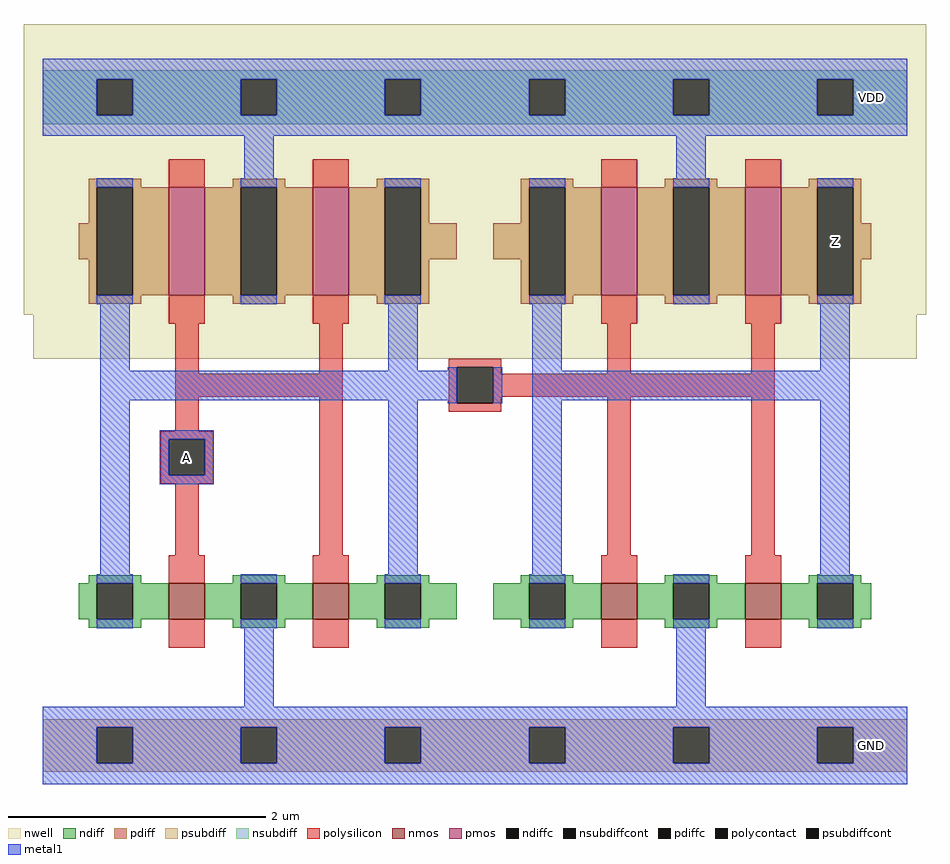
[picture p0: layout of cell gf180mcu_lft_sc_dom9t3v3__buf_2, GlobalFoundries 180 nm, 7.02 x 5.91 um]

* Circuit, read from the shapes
.subckt gf180mcu_lft_sc_dom9t3v3__buf_2 GND VDD A Z
XM1 GND A n1 GND nfet_03v3 w=0.28u l=0.28u m=2
XM2 GND n1 Z GND nfet_03v3 w=0.28u l=0.28u m=2
XM3 VDD A n1 VDD pfet_03v3 w=0.84u l=0.28u m=2
XM4 VDD n1 Z VDD pfet_03v3 w=0.84u l=0.28u m=2
.ends

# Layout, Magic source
magic
tech gf180mcuD
magscale 1 10
<< nwell >>
rect -30 670 1374 1122
rect -15 601 1359 670
<< nmos >>
rect 196 196 252 252
rect 420 196 476 252
rect 868 196 924 252
rect 1092 196 1148 252
<< pmos >>
rect 196 700 252 868
rect 420 700 476 868
rect 868 700 924 868
rect 1092 700 1148 868
<< ndiff >>
rect 71 252 153 265
rect 295 252 377 265
rect 519 252 601 265
rect 743 252 825 265
rect 967 252 1049 265
rect 1191 252 1273 265
rect 56 196 84 252
rect 140 196 196 252
rect 252 196 308 252
rect 364 196 420 252
rect 476 196 532 252
rect 588 196 644 252
rect 700 196 756 252
rect 812 196 868 252
rect 924 196 980 252
rect 1036 196 1092 252
rect 1148 196 1204 252
rect 1260 196 1288 252
rect 71 183 153 196
rect 295 183 377 196
rect 519 183 601 196
rect 743 183 825 196
rect 967 183 1049 196
rect 1191 183 1273 196
<< pdiff >>
rect 71 868 153 881
rect 295 868 377 881
rect 519 868 601 881
rect 71 812 84 868
rect 56 756 84 812
rect 71 700 84 756
rect 140 700 196 868
rect 252 700 308 868
rect 364 700 420 868
rect 476 700 532 868
rect 588 812 601 868
rect 743 868 825 881
rect 967 868 1049 881
rect 1191 868 1273 881
rect 743 812 756 868
rect 588 756 644 812
rect 700 756 756 812
rect 588 700 601 756
rect 71 687 153 700
rect 295 687 377 700
rect 519 687 601 700
rect 743 700 756 756
rect 812 700 868 868
rect 924 700 980 868
rect 1036 700 1092 868
rect 1148 700 1204 868
rect 1260 812 1273 868
rect 1260 756 1288 812
rect 1260 700 1273 756
rect 743 687 825 700
rect 967 687 1049 700
rect 1191 687 1273 700
<< ndiffc >>
rect 84 196 140 252
rect 308 196 364 252
rect 532 196 588 252
rect 756 196 812 252
rect 980 196 1036 252
rect 1204 196 1260 252
<< pdiffc >>
rect 84 700 140 868
rect 308 700 364 868
rect 532 700 588 868
rect 756 700 812 868
rect 980 700 1036 868
rect 1204 700 1260 868
<< psubdiff >>
rect 0 28 1344 41
rect 0 -28 84 28
rect 140 -28 308 28
rect 364 -28 532 28
rect 588 -28 756 28
rect 812 -28 980 28
rect 1036 -28 1204 28
rect 1260 -28 1344 28
rect 0 -41 1344 -28
<< nsubdiff >>
rect 0 1036 1344 1050
rect 0 980 84 1036
rect 140 980 308 1036
rect 364 980 532 1036
rect 588 980 756 1036
rect 812 980 980 1036
rect 1036 980 1204 1036
rect 1260 980 1344 1036
rect 0 966 1344 980
<< psubdiffcont >>
rect 84 -28 140 28
rect 308 -28 364 28
rect 532 -28 588 28
rect 756 -28 812 28
rect 980 -28 1036 28
rect 1204 -28 1260 28
<< nsubdiffcont >>
rect 84 980 140 1036
rect 308 980 364 1036
rect 532 980 588 1036
rect 756 980 812 1036
rect 980 980 1036 1036
rect 1204 980 1260 1036
<< polysilicon >>
rect 196 868 252 912
rect 420 868 476 912
rect 868 868 924 912
rect 1092 868 1148 912
rect 196 656 252 700
rect 420 656 476 700
rect 868 656 924 700
rect 1092 656 1148 700
rect 206 578 242 656
rect 430 578 466 656
rect 206 542 466 578
rect 206 489 242 542
rect 183 476 265 489
rect 183 420 196 476
rect 252 420 265 476
rect 183 407 265 420
rect 206 296 242 407
rect 430 296 466 542
rect 631 588 713 601
rect 631 532 644 588
rect 700 578 713 588
rect 878 578 914 656
rect 1102 578 1138 656
rect 700 542 1138 578
rect 700 532 713 542
rect 631 519 713 532
rect 878 296 914 542
rect 1102 296 1138 542
rect 196 252 252 296
rect 420 252 476 296
rect 868 252 924 296
rect 1092 252 1148 296
rect 196 152 252 196
rect 420 152 476 196
rect 868 152 924 196
rect 1092 152 1148 196
<< polycontact >>
rect 196 420 252 476
rect 644 532 700 588
<< metal1 >>
rect 0 1036 1344 1068
rect 0 980 84 1036
rect 140 980 308 1036
rect 364 980 532 1036
rect 588 980 756 1036
rect 812 980 980 1036
rect 1036 980 1204 1036
rect 1260 980 1344 1036
rect 0 948 1344 980
rect 313 882 359 948
rect 985 882 1031 948
rect 84 868 140 882
rect 84 686 140 700
rect 308 868 364 882
rect 308 686 364 700
rect 532 868 588 882
rect 532 686 588 700
rect 756 868 812 882
rect 756 686 812 700
rect 980 868 1036 882
rect 980 686 1036 700
rect 1204 868 1260 882
rect 1204 686 1260 700
rect 89 583 135 686
rect 537 583 583 686
rect 630 583 644 588
rect 89 537 644 583
rect 89 266 135 537
rect 182 476 266 490
rect 182 420 196 476
rect 252 420 266 476
rect 182 406 266 420
rect 537 266 583 537
rect 630 532 644 537
rect 700 532 714 588
rect 761 583 807 686
rect 1209 583 1255 686
rect 761 537 1255 583
rect 761 266 807 537
rect 1209 266 1255 537
rect 84 252 140 266
rect 84 182 140 196
rect 308 252 364 266
rect 308 182 364 196
rect 532 252 588 266
rect 532 182 588 196
rect 756 252 812 266
rect 756 182 812 196
rect 980 252 1036 266
rect 980 182 1036 196
rect 1204 252 1260 266
rect 1204 182 1260 196
rect 313 60 359 182
rect 985 60 1031 182
rect 0 28 1344 60
rect 0 -28 84 28
rect 140 -28 308 28
rect 364 -28 532 28
rect 588 -28 756 28
rect 812 -28 980 28
rect 1036 -28 1204 28
rect 1260 -28 1344 28
rect 0 -60 1344 -28
<< labels >>
rlabel metal1 1288 0 1288 0 3 GND
port 1 e
rlabel metal1 1288 1008 1288 1008 3 VDD
port 2 e
rlabel polycontact 224 448 224 448 3 A
port 3 e
rlabel pdiffc 1232 784 1232 784 3 Z
port 4 e
<< properties >>
string FIXED_BBOX 0 0 1344 1008
<< end >>
